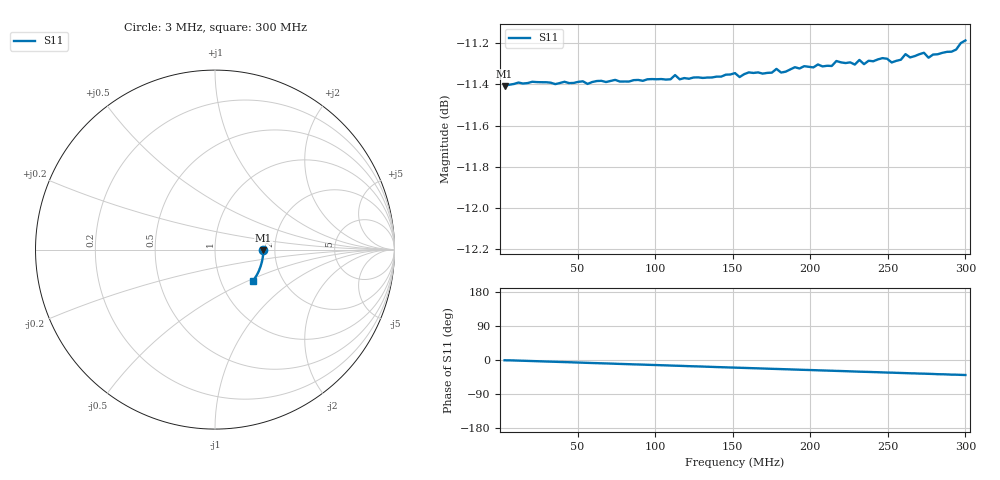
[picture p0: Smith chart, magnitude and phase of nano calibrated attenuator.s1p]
! File created by NanoVNA (https://gen111.taobao.com/)
! Start 3000000Hz  Stop 300000000Hz  Points 101
# HZ S MA R 50
!S - Parameter data, F S11
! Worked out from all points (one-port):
!   101 points, 3 MHz to 300 MHz, reference 50 ohm
!   lowest |S11| = -11.4 dB at 3 MHz (marker M1), VSWR 1.74, Z = 86.8 - j0.68 ohm
!   |S11| at or under -10 dB: start of sweep to end of sweep
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3000000  0.2689 -0.8
8940000  0.2692 -1.2
4.161e7  0.2696 -5.5
7.725e7  0.2696 -10.3
1.0992e8  0.2699 -14.6
1.1289e8  0.2706 -15.0
1.1586e8  0.2699 -15.4
1.515e8  0.2709 -20.1
1.5447e8  0.2703 -20.5
1.6041e8  0.271 -21.3
1.7526e8  0.2709 -23.3
1.7823e8  0.2715 -23.6
1.812e8  0.2709 -24.0
1.9011e8  0.2718 -25.2
2.2575e8  0.2725 -30.0
2.2872e8  0.2722 -30.4
2.3169e8  0.2729 -30.8
2.3466e8  0.2722 -31.2
2.4654e8  0.2731 -32.7
2.5248e8  0.2725 -33.4
2.5842e8  0.2729 -34.2
2.6139e8  0.2738 -34.6
2.6436e8  0.2733 -35.1
2.7327e8  0.274 -36.1
2.7624e8  0.2732 -36.5
2.9109e8  0.2741 -38.7
2.9406e8  0.2745 -38.8
3e8  0.2759 -39.6
